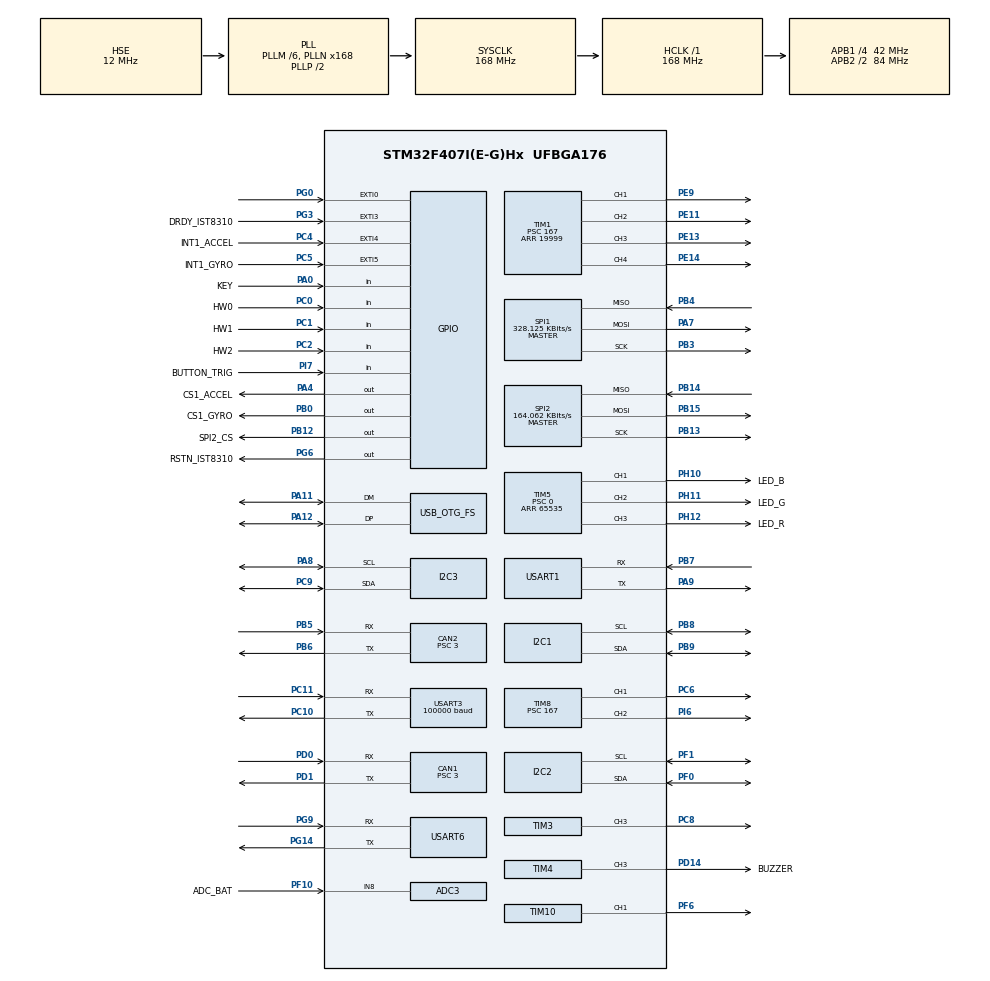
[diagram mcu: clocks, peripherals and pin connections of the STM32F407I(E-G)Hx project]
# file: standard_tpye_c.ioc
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ADC1.Channel-0\#ChannelRegularConversion=ADC_CHANNEL_TEMPSENSOR
ADC1.ClockPrescaler=ADC_CLOCK_SYNC_PCLK_DIV6
ADC1.NbrOfConversionFlag=1
ADC1.Rank-0\#ChannelRegularConversion=1
ADC1.SamplingTime-0\#ChannelRegularConversion=ADC_SAMPLETIME_3CYCLES
ADC1.master=1
ADC3.Channel-0\#ChannelRegularConversion=ADC_CHANNEL_8
ADC3.ClockPrescaler=ADC_CLOCK_SYNC_PCLK_DIV6
ADC3.NbrOfConversionFlag=1
ADC3.Rank-0\#ChannelRegularConversion=1
ADC3.SamplingTime-0\#ChannelRegularConversion=ADC_SAMPLETIME_3CYCLES
CAN1.BS1=CAN_BS1_10TQ
CAN1.BS2=CAN_BS2_3TQ
CAN1.CalculateTimeQuantum=71.42857142857143
CAN1.Prescaler=3
CAN2.BS1=CAN_BS1_10TQ
CAN2.BS2=CAN_BS2_3TQ
CAN2.CalculateTimeQuantum=71.42857142857143
CAN2.Prescaler=3
Dma.I2C2_TX.2.Direction=DMA_MEMORY_TO_PERIPH
Dma.I2C2_TX.2.FIFOMode=DMA_FIFOMODE_DISABLE
Dma.I2C2_TX.2.Instance=DMA1_Stream7
Dma.I2C2_TX.2.MemDataAlignment=DMA_MDATAALIGN_BYTE
Dma.I2C2_TX.2.MemInc=DMA_MINC_ENABLE
Dma.I2C2_TX.2.Mode=DMA_NORMAL
Dma.I2C2_TX.2.PeriphDataAlignment=DMA_PDATAALIGN_BYTE
Dma.I2C2_TX.2.PeriphInc=DMA_PINC_DISABLE
Dma.I2C2_TX.2.Priority=DMA_PRIORITY_HIGH
Dma.Request0=SPI1_RX
Dma.Request1=SPI1_TX
Dma.Request2=I2C2_TX
Dma.Request3=USART3_RX
Dma.Request4=USART6_RX
Dma.Request5=USART6_TX
Dma.Request6=USART1_TX
Dma.SPI1_RX.0.Direction=DMA_PERIPH_TO_MEMORY
Dma.SPI1_RX.0.FIFOMode=DMA_FIFOMODE_DISABLE
Dma.SPI1_RX.0.Instance=DMA2_Stream2
Dma.SPI1_RX.0.MemDataAlignment=DMA_MDATAALIGN_BYTE
Dma.SPI1_RX.0.MemInc=DMA_MINC_ENABLE
Dma.SPI1_RX.0.Mode=DMA_NORMAL
Dma.SPI1_RX.0.PeriphDataAlignment=DMA_PDATAALIGN_BYTE
Dma.SPI1_RX.0.PeriphInc=DMA_PINC_DISABLE
Dma.SPI1_RX.0.Priority=DMA_PRIORITY_VERY_HIGH
Dma.SPI1_TX.1.Direction=DMA_MEMORY_TO_PERIPH
Dma.SPI1_TX.1.FIFOMode=DMA_FIFOMODE_DISABLE
Dma.SPI1_TX.1.Instance=DMA2_Stream3
Dma.SPI1_TX.1.MemDataAlignment=DMA_MDATAALIGN_BYTE
Dma.SPI1_TX.1.MemInc=DMA_MINC_ENABLE
Dma.SPI1_TX.1.Mode=DMA_NORMAL
Dma.SPI1_TX.1.PeriphDataAlignment=DMA_PDATAALIGN_BYTE
Dma.SPI1_TX.1.PeriphInc=DMA_PINC_DISABLE
Dma.SPI1_TX.1.Priority=DMA_PRIORITY_HIGH
Dma.USART1_TX.6.Direction=DMA_MEMORY_TO_PERIPH
Dma.USART1_TX.6.FIFOMode=DMA_FIFOMODE_DISABLE
Dma.USART1_TX.6.Instance=DMA2_Stream7
Dma.USART1_TX.6.MemDataAlignment=DMA_MDATAALIGN_BYTE
Dma.USART1_TX.6.MemInc=DMA_MINC_ENABLE
Dma.USART1_TX.6.Mode=DMA_NORMAL
Dma.USART1_TX.6.PeriphDataAlignment=DMA_PDATAALIGN_BYTE
Dma.USART1_TX.6.PeriphInc=DMA_PINC_DISABLE
Dma.USART1_TX.6.Priority=DMA_PRIORITY_MEDIUM
Dma.USART3_RX.3.Direction=DMA_PERIPH_TO_MEMORY
Dma.USART3_RX.3.FIFOMode=DMA_FIFOMODE_DISABLE
Dma.USART3_RX.3.Instance=DMA1_Stream1
Dma.USART3_RX.3.MemDataAlignment=DMA_MDATAALIGN_BYTE
Dma.USART3_RX.3.MemInc=DMA_MINC_ENABLE
Dma.USART3_RX.3.Mode=DMA_NORMAL
Dma.USART3_RX.3.PeriphDataAlignment=DMA_PDATAALIGN_BYTE
Dma.USART3_RX.3.PeriphInc=DMA_PINC_DISABLE
Dma.USART3_RX.3.Priority=DMA_PRIORITY_HIGH
Dma.USART6_RX.4.Direction=DMA_PERIPH_TO_MEMORY
Dma.USART6_RX.4.FIFOMode=DMA_FIFOMODE_DISABLE
Dma.USART6_RX.4.Instance=DMA2_Stream1
Dma.USART6_RX.4.MemDataAlignment=DMA_MDATAALIGN_BYTE
Dma.USART6_RX.4.MemInc=DMA_MINC_ENABLE
Dma.USART6_RX.4.Mode=DMA_NORMAL
Dma.USART6_RX.4.PeriphDataAlignment=DMA_PDATAALIGN_BYTE
Dma.USART6_RX.4.PeriphInc=DMA_PINC_DISABLE
Dma.USART6_RX.4.Priority=DMA_PRIORITY_HIGH
Dma.USART6_TX.5.Direction=DMA_MEMORY_TO_PERIPH
Dma.USART6_TX.5.FIFOMode=DMA_FIFOMODE_DISABLE
Dma.USART6_TX.5.Instance=DMA2_Stream6
Dma.USART6_TX.5.MemDataAlignment=DMA_MDATAALIGN_BYTE
Dma.USART6_TX.5.MemInc=DMA_MINC_ENABLE
Dma.USART6_TX.5.Mode=DMA_NORMAL
Dma.USART6_TX.5.PeriphDataAlignment=DMA_PDATAALIGN_BYTE
Dma.USART6_TX.5.PeriphInc=DMA_PINC_DISABLE
Dma.USART6_TX.5.Priority=DMA_PRIORITY_MEDIUM
FREERTOS.INCLUDE_eTaskGetState=1
FREERTOS.INCLUDE_pcTaskGetTaskName=1
FREERTOS.INCLUDE_uxTaskGetStackHighWaterMark=1
FREERTOS.INCLUDE_vTaskCleanUpResources=1
FREERTOS.INCLUDE_vTaskDelayUntil=1
FREERTOS.INCLUDE_xEventGroupSetBitFromISR=1
FREERTOS.INCLUDE_xQueueGetMutexHolder=1
FREERTOS.INCLUDE_xSemaphoreGetMutexHolder=1
FREERTOS.INCLUDE_xTaskAbortDelay=1
FREERTOS.INCLUDE_xTaskGetCurrentTaskHandle=1
FREERTOS.INCLUDE_xTaskGetHandle=1
FREERTOS.INCLUDE_xTimerPendFunctionCall=1
FREERTOS.Tasks01=test,24,128,test_task,As weak,NULL,Dynamic,NULL,NULL
FREERTOS.configTOTAL_HEAP_SIZE=24576
I2C1.I2C_Mode=I2C_Fast
I2C2.I2C_Mode=I2C_Fast
I2C3.I2C_Mode=I2C_Fast
Mcu.Family=STM32F4
Mcu.Name=STM32F407I(E-G)Hx
Mcu.Package=UFBGA176
NVIC.CAN1_RX0_IRQn=true\:6\:0\:true\:false\:true\:true\:true\:true\:true
NVIC.CAN2_RX0_IRQn=true\:6\:0\:true\:false\:true\:true\:true\:true\:true
NVIC.DMA1_Stream1_IRQn=true\:5\:0\:true\:false\:false\:true\:false\:false\:true
NVIC.DMA1_Stream7_IRQn=true\:5\:0\:true\:false\:false\:true\:false\:true\:true
NVIC.DMA2_Stream1_IRQn=true\:5\:0\:true\:false\:true\:true\:false\:true\:true
NVIC.DMA2_Stream2_IRQn=true\:5\:0\:true\:false\:false\:true\:false\:true\:true
NVIC.DMA2_Stream3_IRQn=true\:5\:0\:true\:false\:false\:true\:false\:true\:true
NVIC.DMA2_Stream6_IRQn=true\:5\:0\:true\:false\:true\:true\:false\:true\:true
NVIC.DMA2_Stream7_IRQn=true\:5\:0\:true\:false\:true\:true\:false\:true\:true
NVIC.EXTI0_IRQn=true\:6\:0\:true\:false\:true\:true\:true\:true\:true
NVIC.EXTI3_IRQn=true\:5\:0\:true\:false\:true\:true\:true\:true\:true
NVIC.EXTI4_IRQn=true\:5\:0\:true\:false\:true\:true\:true\:true\:true
NVIC.EXTI9_5_IRQn=true\:5\:0\:true\:false\:true\:true\:true\:true\:true
NVIC.OTG_FS_IRQn=true\:5\:0\:false\:false\:true\:true\:false\:true\:true
NVIC.PriorityGroup=NVIC_PRIORITYGROUP_4
NVIC.USART3_IRQn=true\:4\:0\:true\:false\:false\:false\:true\:true\:true
NVIC.USART6_IRQn=true\:5\:0\:true\:false\:false\:true\:true\:true\:true
PA0-WKUP.GPIO_Label=KEY
PA0-WKUP.GPIO_PuPd=GPIO_PULLUP
PA0-WKUP.Signal=GPIO_Input
PA11.Mode=Device_Only
PA11.Signal=USB_OTG_FS_DM
PA12.Mode=Device_Only
PA12.Signal=USB_OTG_FS_DP
PA13.Mode=Serial_Wire
PA13.Signal=SYS_JTMS-SWDIO
PA14.Mode=Serial_Wire
PA14.Signal=SYS_JTCK-SWCLK
PA4.GPIO_Label=CS1_ACCEL
PA4.GPIO_PuPd=GPIO_PULLUP
PA4.GPIO_Speed=GPIO_SPEED_FREQ_HIGH
PA4.PinState=GPIO_PIN_SET
PA4.Signal=GPIO_Output
PA7.GPIO_PuPd=GPIO_PULLUP
PA7.Mode=Full_Duplex_Master
PA7.Signal=SPI1_MOSI
PA8.Mode=I2C
PA8.Signal=I2C3_SCL
PA9.Mode=Asynchronous
PA9.Signal=USART1_TX
PB0.GPIO_Label=CS1_GYRO
PB0.GPIO_PuPd=GPIO_PULLUP
PB0.GPIO_Speed=GPIO_SPEED_FREQ_HIGH
PB0.PinState=GPIO_PIN_SET
PB0.Signal=GPIO_Output
PB12.GPIO_Label=SPI2_CS
PB12.GPIO_PuPd=GPIO_PULLUP
PB12.GPIO_Speed=GPIO_SPEED_FREQ_MEDIUM
PB12.PinState=GPIO_PIN_SET
PB12.Signal=GPIO_Output
PB13.GPIO_PuPd=GPIO_PULLUP
PB13.Mode=Full_Duplex_Master
PB13.Signal=SPI2_SCK
PB14.GPIO_PuPd=GPIO_PULLUP
PB14.Mode=Full_Duplex_Master
PB14.Signal=SPI2_MISO
PB15.GPIO_PuPd=GPIO_PULLUP
PB15.Mode=Full_Duplex_Master
PB15.Signal=SPI2_MOSI
PB3.GPIO_PuPd=GPIO_PULLUP
PB3.Mode=Full_Duplex_Master
PB3.Signal=SPI1_SCK
PB4.GPIO_PuPd=GPIO_PULLUP
PB4.Mode=Full_Duplex_Master
PB4.Signal=SPI1_MISO
PB5.Mode=Slave
PB5.Signal=CAN2_RX
PB6.Mode=Slave
PB6.Signal=CAN2_TX
PB7.Mode=Asynchronous
PB7.Signal=USART1_RX
PB8.Mode=I2C
PB8.Signal=I2C1_SCL
PB9.Mode=I2C
PB9.Signal=I2C1_SDA
PC0.GPIO_Label=HW0
PC0.Signal=GPIO_Input
PC1.GPIO_Label=HW1
PC1.Signal=GPIO_Input
PC10.Mode=Asynchronous
PC10.Signal=USART3_TX
PC11.Mode=Asynchronous
PC11.Signal=USART3_RX
PC2.GPIO_Label=HW2
PC2.Signal=GPIO_Input
PC4.GPIO_Label=INT1_ACCEL
PC4.GPIO_ModeDefaultEXTI=GPIO_MODE_IT_FALLING
PC4.GPIO_PuPd=GPIO_PULLUP
PC4.Signal=GPXTI4
PC5.GPIO_Label=INT1_GYRO
PC5.GPIO_ModeDefaultEXTI=GPIO_MODE_IT_FALLING
PC5.GPIO_PuPd=GPIO_PULLUP
PC5.Signal=GPXTI5
PC6.GPIO_PuPd=GPIO_PULLUP
PC6.GPIO_Speed=GPIO_SPEED_FREQ_HIGH
PC6.Signal=S_TIM8_CH1
PC8.GPIO_PuPd=GPIO_PULLUP
PC8.GPIO_Speed=GPIO_SPEED_FREQ_HIGH
PC8.Signal=S_TIM3_CH3
PC9.Mode=I2C
PC9.Signal=I2C3_SDA
PD0.Mode=Master
PD0.Signal=CAN1_RX
PD1.Mode=Master
PD1.Signal=CAN1_TX
PD14.GPIO_Label=BUZZER
PD14.GPIO_PuPd=GPIO_PULLUP
PD14.GPIO_Speed=GPIO_SPEED_FREQ_VERY_HIGH
PD14.Signal=S_TIM4_CH3
PE11.GPIO_PuPd=GPIO_PULLUP
PE11.GPIO_Speed=GPIO_SPEED_FREQ_HIGH
PE11.Signal=S_TIM1_CH2
PE13.GPIO_PuPd=GPIO_PULLUP
PE13.GPIO_Speed=GPIO_SPEED_FREQ_HIGH
PE13.Signal=S_TIM1_CH3
PE14.GPIO_PuPd=GPIO_PULLUP
PE14.GPIO_Speed=GPIO_SPEED_FREQ_HIGH
PE14.Signal=S_TIM1_CH4
PE9.GPIO_PuPd=GPIO_PULLUP
PE9.GPIO_Speed=GPIO_SPEED_FREQ_HIGH
PE9.Signal=S_TIM1_CH1
PF0.Mode=I2C
PF0.Signal=I2C2_SDA
PF1.Mode=I2C
PF1.Signal=I2C2_SCL
PF10.GPIO_Label=ADC_BAT
PF10.Mode=IN8
PF10.Signal=ADC3_IN8
PF6.GPIO_PuPd=GPIO_PULLUP
PF6.GPIO_Speed=GPIO_SPEED_FREQ_HIGH
PF6.Signal=S_TIM10_CH1
PG0.GPIO_ModeDefaultEXTI=GPIO_MODE_IT_FALLING
PG0.GPIO_PuPd=GPIO_PULLUP
PG0.Signal=GPXTI0
PG14.Mode=Asynchronous
PG14.Signal=USART6_TX
PG3.GPIO_Label=DRDY_IST8310
PG3.GPIO_ModeDefaultEXTI=GPIO_MODE_IT_FALLING
PG3.GPIO_PuPd=GPIO_PULLUP
PG3.Signal=GPXTI3
PG6.GPIO_Label=RSTN_IST8310
PG6.GPIO_PuPd=GPIO_PULLUP
PG6.GPIO_Speed=GPIO_SPEED_FREQ_MEDIUM
PG6.PinState=GPIO_PIN_SET
PG6.Signal=GPIO_Output
PG9.Mode=Asynchronous
PG9.Signal=USART6_RX
PH0-OSC_IN.Mode=HSE-External-Oscillator
PH0-OSC_IN.Signal=RCC_OSC_IN
PH1-OSC_OUT.Mode=HSE-External-Oscillator
PH1-OSC_OUT.Signal=RCC_OSC_OUT
PH10.GPIO_Label=LED_B
PH10.GPIO_PuPd=GPIO_PULLUP
PH10.GPIO_Speed=GPIO_SPEED_FREQ_HIGH
PH10.Signal=S_TIM5_CH1
PH11.GPIO_Label=LED_G
PH11.GPIO_PuPd=GPIO_PULLUP
PH11.GPIO_Speed=GPIO_SPEED_FREQ_HIGH
PH11.Signal=S_TIM5_CH2
PH12.GPIO_Label=LED_R
PH12.GPIO_PuPd=GPIO_PULLUP
PH12.GPIO_Speed=GPIO_SPEED_FREQ_HIGH
PH12.Signal=S_TIM5_CH3
PI6.GPIO_PuPd=GPIO_PULLUP
PI6.GPIO_Speed=GPIO_SPEED_FREQ_HIGH
PI6.Signal=S_TIM8_CH2
PI7.GPIO_Label=BUTTON_TRIG
PI7.GPIO_PuPd=GPIO_PULLUP
PI7.Signal=GPIO_Input
ProjectManager.HeapSize=0x2000
ProjectManager.StackSize=0x2000
ProjectManager.TargetToolchain=MDK-ARM V5
RCC.48MHZClocksFreq_Value=48000000
RCC.AHBFreq_Value=168000000
RCC.APB1CLKDivider=RCC_HCLK_DIV4
RCC.APB1Freq_Value=42000000
RCC.APB1TimFreq_Value=84000000
RCC.APB2CLKDivider=RCC_HCLK_DIV2
RCC.APB2Freq_Value=84000000
RCC.APB2TimFreq_Value=168000000
RCC.CortexFreq_Value=168000000
RCC.HCLKFreq_Value=168000000
RCC.HSE_VALUE=12000000
RCC.HSI_VALUE=16000000
RCC.LSE_VALUE=32768
RCC.PLLM=6
RCC.PLLN=168
RCC.PLLQ=7
RCC.RCC_RTC_Clock_SourceVirtual=RCC_RTCCLKSOURCE_HSE_DIV30
RCC.RCC_RTC_Clock_Source_FROM_HSE=RCC_RTCCLKSOURCE_HSE_DIV30
RCC.SYSCLKFreq_VALUE=168000000
RCC.SYSCLKSource=RCC_SYSCLKSOURCE_PLLCLK
RCC.VCOOutputFreq_Value=336000000
RTC.AsynchPrediv=124
RTC.SynchPrediv=3199
SH.S_TIM10_CH1.0=TIM10_CH1,PWM Generation1 CH1
SH.S_TIM1_CH1.0=TIM1_CH1,PWM Generation1 CH1
SH.S_TIM1_CH2.0=TIM1_CH2,PWM Generation2 CH2
SH.S_TIM1_CH3.0=TIM1_CH3,PWM Generation3 CH3
SH.S_TIM1_CH4.0=TIM1_CH4,PWM Generation4 CH4
SH.S_TIM3_CH3.0=TIM3_CH3,PWM Generation3 CH3
SH.S_TIM4_CH3.0=TIM4_CH3,PWM Generation3 CH3
SH.S_TIM5_CH1.0=TIM5_CH1,PWM Generation1 CH1
SH.S_TIM5_CH2.0=TIM5_CH2,PWM Generation2 CH2
SH.S_TIM5_CH3.0=TIM5_CH3,PWM Generation3 CH3
SH.S_TIM8_CH1.0=TIM8_CH1,PWM Generation1 CH1
SH.S_TIM8_CH2.0=TIM8_CH2,PWM Generation2 CH2
SPI1.BaudRatePrescaler=SPI_BAUDRATEPRESCALER_256
SPI1.CLKPhase=SPI_PHASE_2EDGE
SPI1.CLKPolarity=SPI_POLARITY_HIGH
SPI1.CalculateBaudRate=328.125 KBits/s
SPI1.Direction=SPI_DIRECTION_2LINES
SPI1.Mode=SPI_MODE_MASTER
SPI1.VirtualType=VM_MASTER
SPI2.BaudRatePrescaler=SPI_BAUDRATEPRESCALER_256
SPI2.CLKPhase=SPI_PHASE_2EDGE
SPI2.CLKPolarity=SPI_POLARITY_HIGH
SPI2.CalculateBaudRate=164.062 KBits/s
SPI2.Direction=SPI_DIRECTION_2LINES
SPI2.Mode=SPI_MODE_MASTER
SPI2.VirtualType=VM_MASTER
TIM1.Channel-PWM\ Generation1\ CH1=TIM_CHANNEL_1
TIM1.Channel-PWM\ Generation2\ CH2=TIM_CHANNEL_2
TIM1.Channel-PWM\ Generation3\ CH3=TIM_CHANNEL_3
TIM1.Channel-PWM\ Generation4\ CH4=TIM_CHANNEL_4
TIM1.Period=19999
TIM1.Prescaler=167
TIM1.Pulse-PWM\ Generation1\ CH1=1000
TIM1.Pulse-PWM\ Generation2\ CH2=1000
TIM1.Pulse-PWM\ Generation3\ CH3=1000
TIM1.Pulse-PWM\ Generation4\ CH4=1000
TIM10.Channel=TIM_CHANNEL_1
TIM10.Period=4999
TIM3.Channel-PWM\ Generation3\ CH3=TIM_CHANNEL_3
TIM3.Period=8399
TIM4.Channel-PWM\ Generation3\ CH3=TIM_CHANNEL_3
TIM4.Period=65535
TIM4.Prescaler=167
TIM5.Channel-PWM\ Generation1\ CH1=TIM_CHANNEL_1
TIM5.Channel-PWM\ Generation2\ CH2=TIM_CHANNEL_2
TIM5.Channel-PWM\ Generation3\ CH3=TIM_CHANNEL_3
TIM5.Period=65535
TIM5.Prescaler=0
TIM8.Channel-PWM\ Generation1\ CH1=TIM_CHANNEL_1
TIM8.Channel-PWM\ Generation2\ CH2=TIM_CHANNEL_2
TIM8.Period=19999
TIM8.Prescaler=167
TIM8.Pulse-PWM\ Generation1\ CH1=1000
TIM8.Pulse-PWM\ Generation2\ CH2=1000
USART1.VirtualMode=VM_ASYNC
USART3.BaudRate=100000
USART3.Parity=PARITY_EVEN
USART3.VirtualMode=VM_ASYNC
USART6.VirtualMode=VM_ASYNC
USB_DEVICE.CLASS_NAME_FS=CDC
USB_DEVICE.VirtualMode-CDC_FS=Cdc
USB_DEVICE.VirtualModeFS=Cdc_FS
USB_OTG_FS.VirtualMode=Device_Only
VP_ADC1_TempSens_Input.Mode=IN-TempSens
VP_ADC1_Vref_Input.Mode=IN-Vrefint
VP_CRC_VS_CRC.Mode=CRC_Activate
VP_FREERTOS_VS_CMSIS_V1.Mode=CMSIS_V1
VP_RNG_VS_RNG.Mode=RNG_Activate
VP_RTC_VS_RTC_Activate.Mode=RTC_Enabled
VP_TIM10_VS_ClockSourceINT.Mode=Enable_Timer
VP_TIM1_VS_ClockSourceINT.Mode=Internal
VP_TIM3_VS_ClockSourceINT.Mode=Internal
VP_TIM4_VS_ClockSourceINT.Mode=Internal
VP_TIM5_VS_ClockSourceINT.Mode=Internal
VP_TIM8_VS_ClockSourceINT.Mode=Internal
VP_USB_DEVICE_VS_USB_DEVICE_CDC_FS.Mode=CDC_FS
board=custom

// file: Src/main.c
/* USER CODE BEGIN Header */
/**
  ******************************************************************************
  * @file           : main.c
  * @brief          : Main program body
  ******************************************************************************
  * @attention

*/

/**************************河北建筑工程学院LuBan战队***************************/
/*

          默认为蓝方5号步兵机器人 自定义UI需要更改机器人ID和操作手ID

*/

/* USER CODE END Header */
#include "main.h"
#include "cmsis_os.h"
#include "adc.h"
#include "can.h"
#include "crc.h"
#include "dma.h"
#include "i2c.h"
#include "rng.h"
#include "rtc.h"
#include "spi.h"
#include "tim.h"
#include "usart.h"
#include "usb_device.h"
#include "gpio.h"
#include "shoot.h"

/* USER CODE BEGIN Includes */
#include "bsp_can.h"
#include "bsp_delay.h"
#include "bsp_usart.h"
#include "remote_control.h"

#include "calibrate_task.h"
#include "chassis_task.h"
#include "detect_task.h"
#include "gimbal_task.h"
#include "INS_task.h"
#include "led_flow_task.h"
#include "oled_task.h"
#include "referee_usart_task.h"
#include "usb_task.h"
#include "voltage_task.h"
#include "RM_Cilent_UI.h"
#include "string.h"
/* USER CODE END Includes */

/* USER CODE BEGIN PV */

//Graph_Data G1,G2,G3,G4,G5;

/* USER CODE END PV */

void SystemClock_Config(void);
void MX_FREERTOS_Init(void);

int main(void)
{

  /* MCU Configuration--------------------------------------------------------*/

  /* Reset of all peripherals, Initializes the Flash interface and the Systick. */
  HAL_Init();

  /* Configure the system clock */
  SystemClock_Config();

  /* Initialize all configured peripherals */
  MX_GPIO_Init();
  MX_DMA_Init();
  MX_ADC1_Init();
  MX_ADC3_Init();
  MX_CAN1_Init();
  MX_CAN2_Init();
  MX_I2C1_Init();
  MX_SPI1_Init();
  MX_TIM4_Init();
  MX_TIM5_Init();
  MX_USART3_UART_Init();
  MX_TIM8_Init();
  MX_CRC_Init();
  MX_RNG_Init();
  MX_I2C2_Init();
  MX_I2C3_Init();
  MX_RTC_Init();
  MX_SPI2_Init();
  MX_TIM1_Init();
  MX_TIM3_Init();
  MX_TIM10_Init();
  MX_USART1_UART_Init();
  MX_USART6_UART_Init();
  /* USER CODE BEGIN 2 */
    can_filter_init();
    delay_init();
    cali_param_init();
    remote_control_init();
    usart1_tx_dma_init();
//	InitAutoAim();
  /* USER CODE END 2 */

  /* Call init function for freertos objects (in freertos.c) */
  MX_FREERTOS_Init();

  /* Start scheduler */
  osKernelStart();

  /* We should never get here as control is now taken by the scheduler */

  /* Infinite loop */
  /* USER CODE BEGIN WHILE */
   /*****************************自定义UI*****Start*****************************/
	Graph_Data G1,G2,G3,G4,G5;

	memset(&G1,0,sizeof(G1));
	memset(&G2,0,sizeof(G2));
	memset(&G3,0,sizeof(G3));
	memset(&G4,0,sizeof(G4));
	memset(&G5,0,sizeof(G5));

	Line_Draw(&G1,"001",UI_Graph_ADD,9,UI_Color_Orange,3,960,570,960,200);
	Rectangle_Draw(&G2,"002",UI_Graph_ADD,9,UI_Color_Pink,5,700,450,1000,650);
	Arc_Draw(&G3,"003",UI_Graph_ADD,9,UI_Color_Green,70,180,5,960,400,80,80);
	Circle_Draw(&G4,"004",UI_Graph_ADD,9,UI_Color_Cyan,8,700,700,100);
	Line_Draw(&G5,"001",UI_Graph_ADD,9,UI_Color_Orange,3,1100,800,700,800);
//	UI_ReFresh(5,G1,G2,G3,G4,G5);                          //绘制图形

//  HAL_UART_Transmit(&huart6,"hello",5,100);

  /*****************************自定义UI******End******************************/

  while (1)
  {
//	  delay_us(700);
//	  Circle_Draw(&G4,"004",UI_Graph_Change,9,UI_Color_Pink,8,700,700,100);
//      UI_ReFresh(1,G4);
//      delay_us(700);
//      Circle_Draw(&G4,"004",UI_Graph_Change,9,UI_Color_Cyan,8,700,700,100);
//      UI_ReFresh(1,G4);
	  HAL_UART_Transmit(&huart6,"hello",5,1000);

    /* USER CODE END WHILE */

  }
}

void SystemClock_Config(void)
{
  RCC_OscInitTypeDef RCC_OscInitStruct = {0};
  RCC_ClkInitTypeDef RCC_ClkInitStruct = {0};
  RCC_PeriphCLKInitTypeDef PeriphClkInitStruct = {0};

  /** Configure the main internal regulator output voltage
  */
  __HAL_RCC_PWR_CLK_ENABLE();
  __HAL_PWR_VOLTAGESCALING_CONFIG(PWR_REGULATOR_VOLTAGE_SCALE1);
  /** Initializes the CPU, AHB and APB busses clocks
  */
  RCC_OscInitStruct.OscillatorType = RCC_OSCILLATORTYPE_HSE;
  RCC_OscInitStruct.HSEState = RCC_HSE_ON;
  RCC_OscInitStruct.PLL.PLLState = RCC_PLL_ON;
  RCC_OscInitStruct.PLL.PLLSource = RCC_PLLSOURCE_HSE;
  RCC_OscInitStruct.PLL.PLLM = 6;
  RCC_OscInitStruct.PLL.PLLN = 168;
  RCC_OscInitStruct.PLL.PLLP = RCC_PLLP_DIV2;
  RCC_OscInitStruct.PLL.PLLQ = 7;
  if (HAL_RCC_OscConfig(&RCC_OscInitStruct) != HAL_OK)
  {
    Error_Handler();
  }
  /** Initializes the CPU, AHB and APB busses clocks
  */
  RCC_ClkInitStruct.ClockType = RCC_CLOCKTYPE_HCLK|RCC_CLOCKTYPE_SYSCLK
                              |RCC_CLOCKTYPE_PCLK1|RCC_CLOCKTYPE_PCLK2;
  RCC_ClkInitStruct.SYSCLKSource = RCC_SYSCLKSOURCE_PLLCLK;
  RCC_ClkInitStruct.AHBCLKDivider = RCC_SYSCLK_DIV1;
  RCC_ClkInitStruct.APB1CLKDivider = RCC_HCLK_DIV4;
  RCC_ClkInitStruct.APB2CLKDivider = RCC_HCLK_DIV2;

  if (HAL_RCC_ClockConfig(&RCC_ClkInitStruct, FLASH_LATENCY_5) != HAL_OK)
  {
    Error_Handler();
  }
  PeriphClkInitStruct.PeriphClockSelection = RCC_PERIPHCLK_RTC;
  PeriphClkInitStruct.RTCClockSelection = RCC_RTCCLKSOURCE_HSE_DIV30;
  if (HAL_RCCEx_PeriphCLKConfig(&PeriphClkInitStruct) != HAL_OK)
  {
    Error_Handler();
  }
}

void Error_Handler(void)
{
}

/************************ (C) COPYRIGHT STMicroelectronics *****END OF FILE****/
